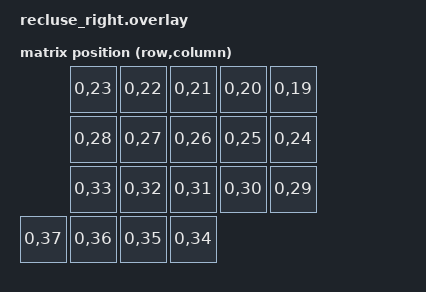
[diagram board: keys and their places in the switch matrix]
/*
 * Copyright (c) 2020 The ZMK Contributors
 *
 * SPDX-License-Identifier: MIT
 */

#include "recluse.dtsi"

/ {

	chosen {
		zmk,kscan = &kscan0;
		zmk,matrix_transform = &default_transform;
	};

	default_transform: keymap_transform_0 {
		compatible = "zmk,matrix-transform";
		columns = <38>;
		rows = <1>;
		map = <
  			          RC(0,23)  RC(0,22)  RC(0,21)  RC(0,20)  RC(0,19)
  			          RC(0,28)  RC(0,27)  RC(0,26)  RC(0,25)  RC(0,24)
  			          RC(0,33)  RC(0,32)  RC(0,31)  RC(0,30)  RC(0,29)
  			RC(0,37)  RC(0,36)  RC(0,35)  RC(0,34)
		>;
	};

	kscan0: kscan {
		compatible = "zmk,kscan-gpio-direct";
		label = "KSCAN";
		input-gpios
		, <&pro_micro 1 (GPIO_ACTIVE_LOW | GPIO_PULL_UP)>
		, <&pro_micro 21 (GPIO_ACTIVE_LOW | GPIO_PULL_UP)>
		, <&pro_micro 0 (GPIO_ACTIVE_LOW | GPIO_PULL_UP)>
		, <&pro_micro 3 (GPIO_ACTIVE_LOW | GPIO_PULL_UP)>
		, <&gpio1 2 (GPIO_ACTIVE_LOW | GPIO_PULL_UP)>

		, <&pro_micro 19 (GPIO_ACTIVE_LOW | GPIO_PULL_UP)>
		, <&pro_micro 20 (GPIO_ACTIVE_LOW | GPIO_PULL_UP)>
		, <&pro_micro 2 (GPIO_ACTIVE_LOW | GPIO_PULL_UP)>
		, <&pro_micro 4 (GPIO_ACTIVE_LOW | GPIO_PULL_UP)>
		, <&gpio1 1 (GPIO_ACTIVE_LOW | GPIO_PULL_UP)>

		, <&pro_micro 15 (GPIO_ACTIVE_LOW | GPIO_PULL_UP)>
		, <&pro_micro 18 (GPIO_ACTIVE_LOW | GPIO_PULL_UP)>
		, <&pro_micro 8 (GPIO_ACTIVE_LOW | GPIO_PULL_UP)>
		, <&pro_micro 7 (GPIO_ACTIVE_LOW | GPIO_PULL_UP)>
		, <&pro_micro 6 (GPIO_ACTIVE_LOW | GPIO_PULL_UP)>

		, <&pro_micro 9 (GPIO_ACTIVE_LOW | GPIO_PULL_UP)>
		, <&pro_micro 10 (GPIO_ACTIVE_LOW | GPIO_PULL_UP)>
		, <&pro_micro 16 (GPIO_ACTIVE_LOW | GPIO_PULL_UP)>
		, <&pro_micro 14 (GPIO_ACTIVE_LOW | GPIO_PULL_UP)>
		;
	};

};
